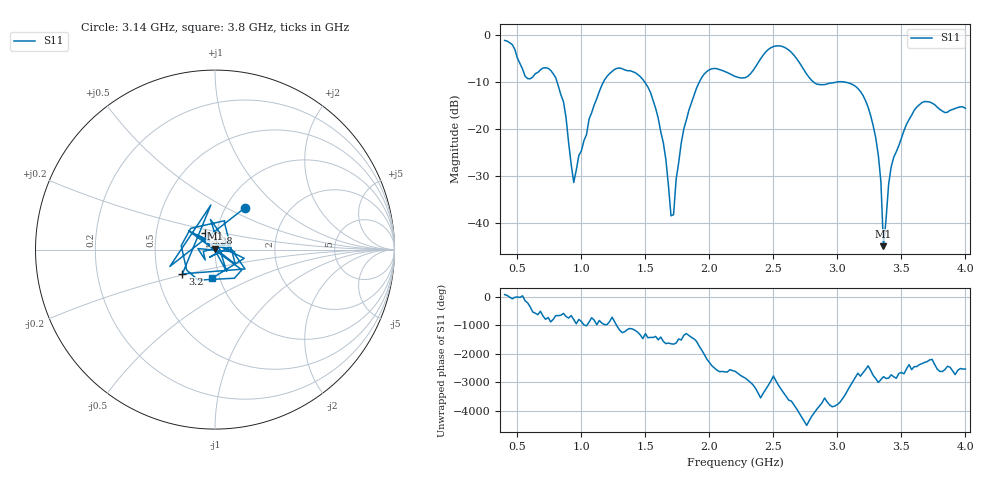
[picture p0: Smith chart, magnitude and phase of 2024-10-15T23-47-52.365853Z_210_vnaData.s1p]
! Created with skrf (http://scikit-rf.org).
# Hz S RI R 50.0
!freq ReS11 ImS11
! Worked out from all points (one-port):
!   181 points, 400 MHz to 4 GHz, reference 50 ohm
!   lowest |S11| = -45.0 dB at 3.36 GHz (marker M1), VSWR 1.01, Z = 50.1 + j0.552 ohm
!   |S11| at or under -10 dB: 809.4 MHz to 1.173 GHz (363.8 MHz wide, 36.7 % of centre); 1.493 GHz to 1.922 GHz (429.7 MHz wide, 25.2 % of centre); 3.038 GHz to end of sweep (the widest 3 of 4)
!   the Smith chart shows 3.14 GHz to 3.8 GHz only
!   S11 on the Smith chart (normalised r, x): 3.14 GHz: 1.22, +0.62; 3.2 GHz: 0.67, -0.19; 3.28 GHz: 0.88, +0.17; 3.8 GHz: 0.92, -0.30
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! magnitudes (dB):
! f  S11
! 400 MHz  -1.2
! 580 MHz  -9.3
! 760 MHz  -7.6
! 860 MHz  -14.2
! 940 MHz  -31.5
! 1.14 GHz  -12.0
! 1.3 GHz  -7.1
! 1.54 GHz  -12.3
! 1.64 GHz  -23.0
! 1.7 GHz  -38.6
! 1.72 GHz  -38.3
! 1.76 GHz  -27.2
! 1.8 GHz  -20.1
! 1.94 GHz  -9.1
! 2.2 GHz  -8.9
! 2.5 GHz  -2.5
! 2.66 GHz  -4.3
! 2.84 GHz  -10.5
! 3.1 GHz  -10.4
! 3.14 GHz  -10.9
! 3.2 GHz  -12.9
! 3.28 GHz  -19.4
! 3.34 GHz  -31.4
! 3.36 GHz  -45.0
! 3.42 GHz  -28.1
! 3.56 GHz  -18.0
! 3.8 GHz  -15.9
! 4 GHz  -15.7
